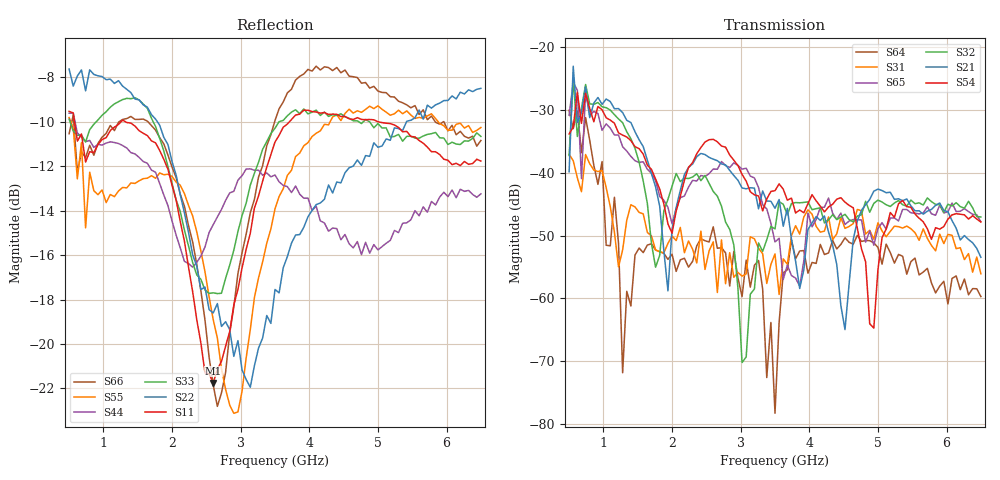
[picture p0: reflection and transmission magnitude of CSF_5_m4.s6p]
!Keysight Technologies,M9804A,MY58100912,A.14.10.03
!Date: Thursday, April 27, 2023 10:28:33
!Correction: S11(C  6-Port  )
!S12(C  6-Port  )
!S13(C  6-Port  )
!S14(C  6-Port  )
!S15(C  6-Port  )
!S16(C  6-Port  )
!S21(C  6-Port  )
!S22(C  6-Port  )
!S23(C  6-Port  )
!S24(C  6-Port  )
!S25(C  6-Port  )
!S26(C  6-Port  )
!S31(C  6-Port  )
!S32(C  6-Port  )
!S33(C  6-Port  )
!S34(C  6-Port  )
!S35(C  6-Port  )
!S36(C  6-Port  )
!S41(C  6-Port  )
!S42(C  6-Port  )
!S43(C  6-Port  )
!S44(C  6-Port  )
!S45(C  6-Port  )
!S46(C  6-Port  )
!S51(C  6-Port  )
!S52(C  6-Port  )
!S53(C  6-Port  )
!S54(C  6-Port  )
!S55(C  6-Port  )
!S56(C  6-Port  )
!S61(C  6-Port  )
!S62(C  6-Port  )
!S63(C  6-Port  )
!S64(C  6-Port  )
!S65(C  6-Port  )
!S66(C  6-Port  )
!S6P File: Measurement: :
# Hz S  RI  R 50
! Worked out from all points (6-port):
!   101 points, 500 MHz to 6.5 GHz, reference 50 ohm
!   strongest paths, dB at 500 MHz, 2 GHz, 3.5 GHz, 5 GHz, 6.5 GHz:
!     S54: -33.8, -49.6, -42.9, -55.4, -47.8
!     S21: -39.8, -49.0, -45.7, -42.6, -53.5
!     S32: -37.3, -42.1, -48.9, -44.4, -47.0
!     S65: -30.8, -48.1, -51.0, -48.9, -47.8
!     S31: -37.1, -50.1, -52.9, -48.0, -56.1
!     S64: -30.1, -53.0, -78.3, -51.9, -59.7
!   lowest |S11| = -21.7 dB at 2.6 GHz (marker M1), VSWR 1.18, Z = 42.7 + j2 ohm
!   |S11| at or under -10 dB: 578.5 MHz to 1.259 GHz (680.6 MHz wide, 74.1 % of centre); 1.317 GHz to 3.713 GHz (2.396 GHz wide, 95.3 % of centre); 4.996 GHz to end of sweep
